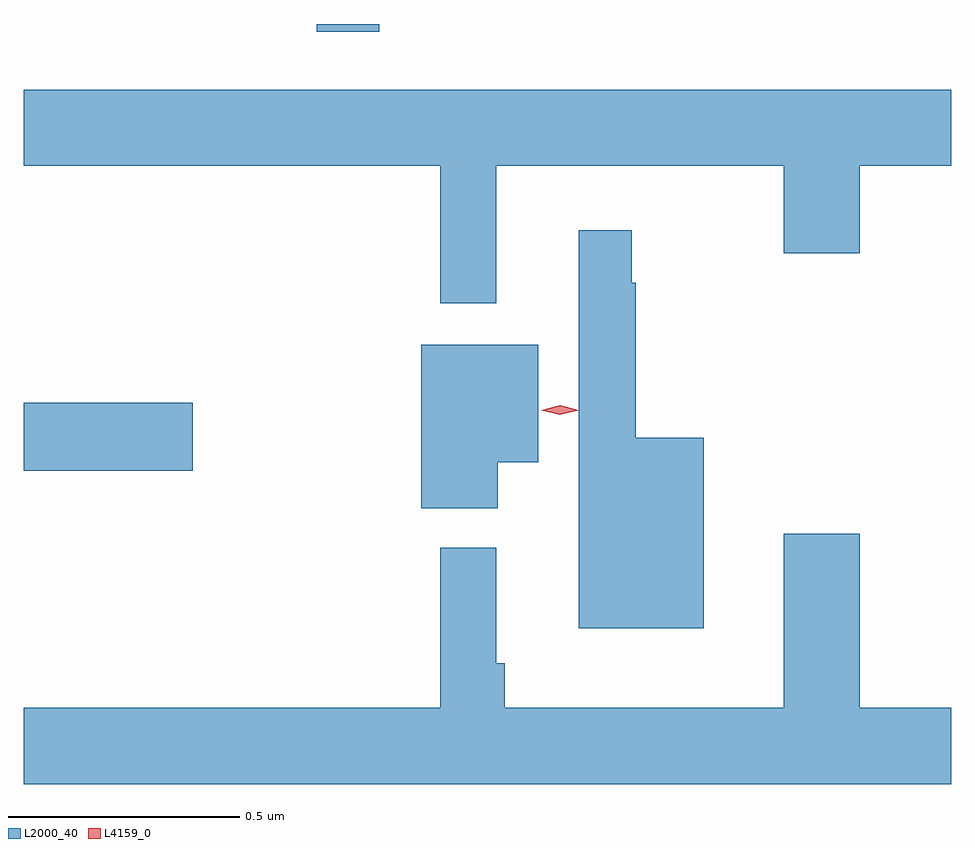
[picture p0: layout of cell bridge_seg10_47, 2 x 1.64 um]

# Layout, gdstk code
import gdstk
lib = gdstk.Library(unit=1e-6, precision=1e-09)
def R(c, l, rs):  # rectangles x0, y0, x1, y1
    for r in rs: c.add(gdstk.rectangle(r[:2], r[2:], *l))
def P(c, l, *ps):  # polygons
    for p in ps: c.add(gdstk.Polygon(p, *l))
L2000_40 = (2000, 40)
L4159_0 = (4159, 0)

bridge_seg10_47 = lib.new_cell('bridge_seg10_47')
R(bridge_seg10_47, L2000_40, [(882.65,1261.031,883.015,1261.178), (883.282,1261.977,883.417,1261.994)])
P(bridge_seg10_47, L2000_40, [(883.669,1261.688),(884.288,1261.688),(884.288,1261.5),(884.452,1261.5),(884.452,1261.688),(884.65,1261.688),(884.65,1261.852),(882.65,1261.852),(882.65,1261.688),(883.548,1261.688),(883.548,1261.392),(883.669,1261.392)],
  [(884.116,1261.102),(883.969,1261.102),(883.969,1261.436),(883.961,1261.436),(883.961,1261.549),(883.847,1261.549),(883.847,1260.692),(884.116,1260.692)],
  [(883.672,1261.049),(883.759,1261.049),(883.759,1261.303),(883.507,1261.303),(883.507,1260.95),(883.672,1260.95)],
  [(884.65,1260.52),(884.452,1260.52),(884.452,1260.895),(884.288,1260.895),(884.288,1260.52),(883.687,1260.52),(883.687,1260.616),(883.669,1260.616),(883.669,1260.865),(883.548,1260.865),(883.548,1260.52),(882.65,1260.52),(882.65,1260.356),(884.65,1260.356)])
P(bridge_seg10_47, L4159_0, [(883.806,1261.152),(883.766,1261.162),(883.766,1261.162),(883.766,1261.162),(883.807,1261.172),(883.847,1261.161),(883.847,1261.161),(883.847,1261.161)])

lib.write_gds('bridge_seg10_47.gds')
